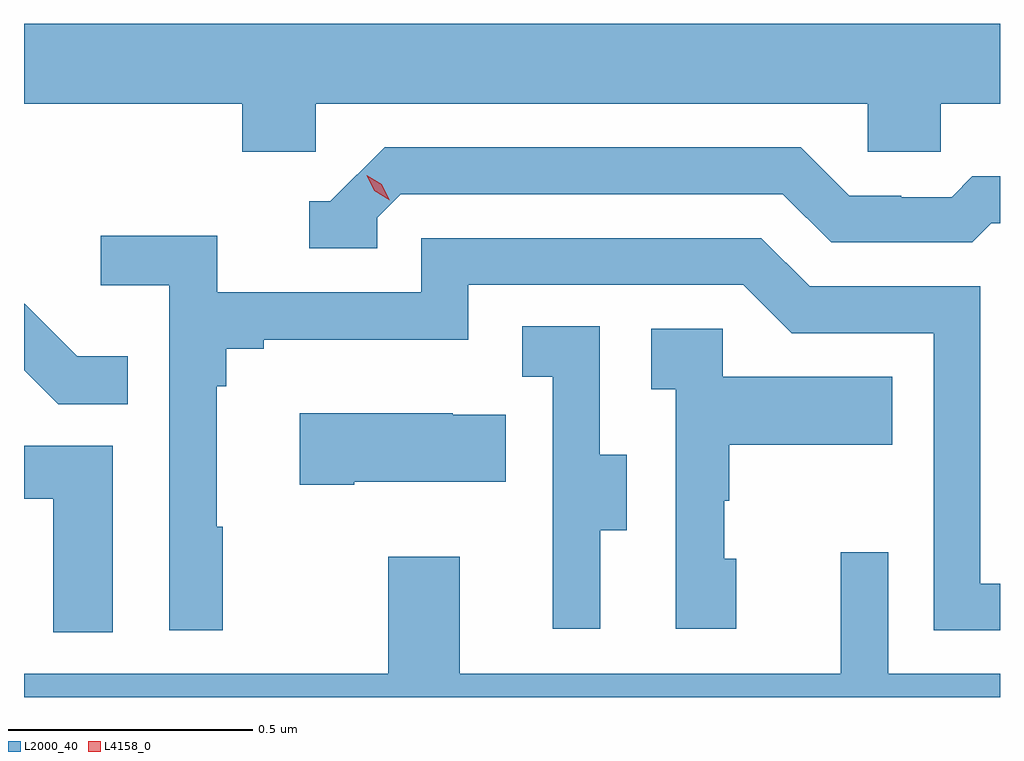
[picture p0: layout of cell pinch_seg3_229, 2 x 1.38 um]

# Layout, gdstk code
import gdstk
lib = gdstk.Library(unit=1e-6, precision=1e-09)
def P(c, l, *ps):  # polygons
    for p in ps: c.add(gdstk.Polygon(p, *l))
L2000_40 = (2000, 40)
L4158_0 = (4158, 0)

pinch_seg3_229 = lib.new_cell('pinch_seg3_229')
P(pinch_seg3_229, L2000_40, [(929.58,743.54),(930.711,743.54),(930.711,743.442),(930.861,743.442),(930.861,743.54),(930.982,743.54),(930.982,743.704),(928.982,743.704),(928.982,743.54),(929.429,743.54),(929.429,743.442),(929.58,743.442)],
  [(929.706,743.307),(929.754,743.355),(930.537,743.355),(930.636,743.256),(930.925,743.256),(930.964,743.295),(930.982,743.295),(930.982,743.392),(930.925,743.392),(930.883,743.349),(930.78,743.349),(930.78,743.352),(930.673,743.352),(930.574,743.451),(929.721,743.451),(929.61,743.34),(929.567,743.34),(929.567,743.244),(929.706,743.244)],
  [(929.389,742.673),(929.377,742.673),(929.377,742.961),(929.396,742.961),(929.396,743.038),(929.473,743.038),(929.473,743.057),(929.892,743.057),(929.892,743.169),(930.456,743.169),(930.555,743.07),(930.846,743.07),(930.846,742.461),(930.982,742.461),(930.982,742.557),(930.942,742.557),(930.942,743.166),(930.592,743.166),(930.493,743.265),(929.796,743.265),(929.796,743.154),(929.378,743.154),(929.378,743.27),(929.139,743.27),(929.139,743.168),(929.28,743.168),(929.28,742.461),(929.389,742.461)],
  [(929.195,743.023),(929.091,743.023),(928.984,743.13),(928.982,743.13),(928.982,742.994),(929.052,742.924),(929.195,742.924)],
  [(930.163,742.666),(930.217,742.666),(930.217,742.821),(930.162,742.821),(930.162,743.084),(930.003,743.084),(930.003,742.981),(930.066,742.981),(930.066,742.677),(930.065,742.677),(930.065,742.464),(930.163,742.464)],
  [(930.442,742.608),(930.417,742.608),(930.417,742.727),(930.427,742.727),(930.427,742.841),(930.761,742.841),(930.761,742.981),(930.414,742.981),(930.414,743.079),(930.267,743.079),(930.267,742.955),(930.318,742.955),(930.318,742.464),(930.442,742.464)],
  [(929.659,742.766),(929.969,742.766),(929.969,742.903),(929.861,742.903),(929.861,742.906),(929.547,742.906),(929.547,742.759),(929.659,742.759)],
  [(929.164,742.839),(928.982,742.839),(928.982,742.731),(929.042,742.731),(929.042,742.457),(929.164,742.457)],
  [(930.982,742.372),(930.753,742.372),(930.753,742.621),(930.656,742.621),(930.656,742.372),(929.875,742.372),(929.875,742.612),(929.728,742.612),(929.728,742.372),(928.982,742.372),(928.982,742.324),(930.982,742.324)])
P(pinch_seg3_229, L4158_0, [(929.731,743.342),(929.7,743.362),(929.684,743.394),(929.684,743.394),(929.684,743.394),(929.715,743.375),(929.731,743.342),(929.731,743.342)])

lib.write_gds('pinch_seg3_229.gds')
